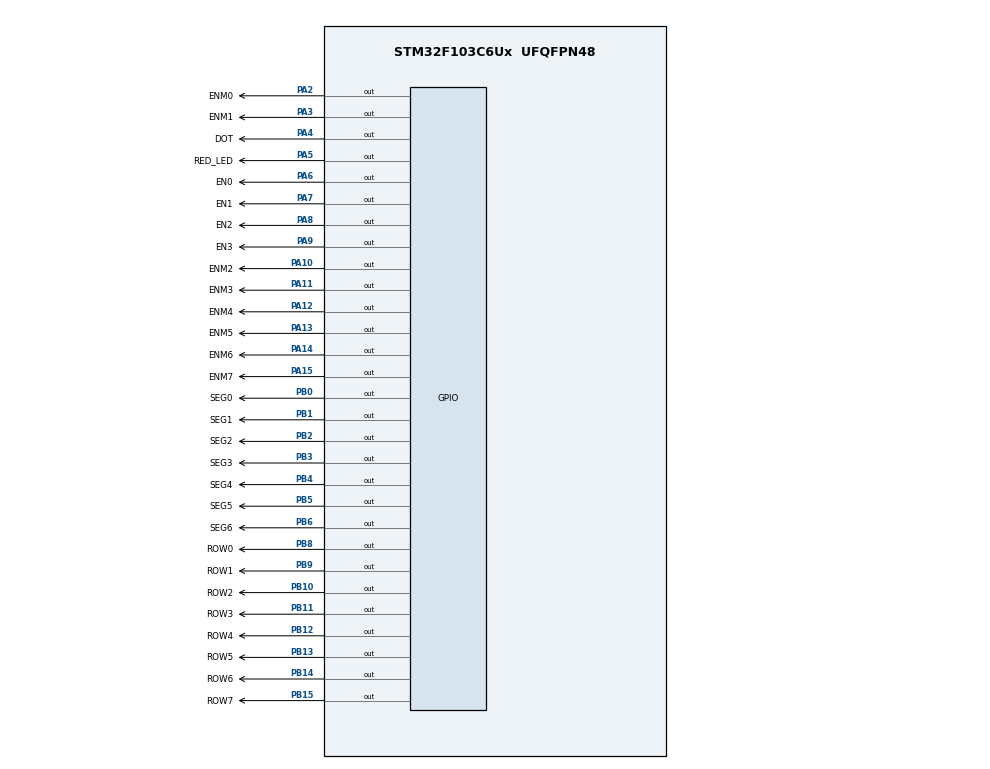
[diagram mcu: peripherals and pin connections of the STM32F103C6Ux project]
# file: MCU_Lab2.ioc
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Mcu.Family=STM32F1
Mcu.Name=STM32F103C6Ux
Mcu.Package=UFQFPN48
NVIC.PriorityGroup=NVIC_PRIORITYGROUP_4
NVIC.TIM2_IRQn=true\:0\:0\:false\:false\:true\:true\:true
PA10.GPIO_Label=ENM2
PA10.Signal=GPIO_Output
PA11.GPIO_Label=ENM3
PA11.Signal=GPIO_Output
PA12.GPIO_Label=ENM4
PA12.Signal=GPIO_Output
PA13.GPIO_Label=ENM5
PA13.Signal=GPIO_Output
PA14.GPIO_Label=ENM6
PA14.Signal=GPIO_Output
PA15.GPIO_Label=ENM7
PA15.Signal=GPIO_Output
PA2.GPIO_Label=ENM0
PA2.Signal=GPIO_Output
PA3.GPIO_Label=ENM1
PA3.Signal=GPIO_Output
PA4.GPIO_Label=DOT
PA4.Signal=GPIO_Output
PA5.GPIO_Label=RED_LED
PA5.Signal=GPIO_Output
PA6.GPIO_Label=EN0
PA6.Signal=GPIO_Output
PA7.GPIO_Label=EN1
PA7.Signal=GPIO_Output
PA8.GPIO_Label=EN2
PA8.Signal=GPIO_Output
PA9.GPIO_Label=EN3
PA9.Signal=GPIO_Output
PB0.GPIO_Label=SEG0
PB0.Signal=GPIO_Output
PB1.GPIO_Label=SEG1
PB1.Signal=GPIO_Output
PB10.GPIO_Label=ROW2
PB10.Signal=GPIO_Output
PB11.GPIO_Label=ROW3
PB11.Signal=GPIO_Output
PB12.GPIO_Label=ROW4
PB12.Signal=GPIO_Output
PB13.GPIO_Label=ROW5
PB13.Signal=GPIO_Output
PB14.GPIO_Label=ROW6
PB14.Signal=GPIO_Output
PB15.GPIO_Label=ROW7
PB15.Signal=GPIO_Output
PB2.GPIO_Label=SEG2
PB2.Signal=GPIO_Output
PB3.GPIO_Label=SEG3
PB3.Signal=GPIO_Output
PB4.GPIO_Label=SEG4
PB4.Signal=GPIO_Output
PB5.GPIO_Label=SEG5
PB5.Signal=GPIO_Output
PB6.GPIO_Label=SEG6
PB6.Signal=GPIO_Output
PB8.GPIO_Label=ROW0
PB8.Signal=GPIO_Output
PB9.GPIO_Label=ROW1
PB9.Signal=GPIO_Output
ProjectManager.HeapSize=0x200
ProjectManager.StackSize=0x400
ProjectManager.TargetToolchain=STM32CubeIDE
RCC.APB1Freq_Value=8000000
RCC.APB2Freq_Value=8000000
TIM2.Period=9
TIM2.Prescaler=7999
VP_SYS_VS_ND.Mode=No_Debug
VP_TIM2_VS_ClockSourceINT.Mode=Internal
board=custom

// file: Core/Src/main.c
/* USER CODE BEGIN Header */
/**
  ******************************************************************************
  * @file           : main.c
  * @brief          : Main program body
  ******************************************************************************
  * @attention
  *
  * <h2><center>&copy; Copyright (c) 2023 STMicroelectronics.
  * All rights reserved.</center></h2>
  *
  * This software component is licensed by ST under BSD 3-Clause license,
  * the "License"; You may not use this file except in compliance with the
  * License. You may obtain a copy of the License at:
  *                        opensource.org/licenses/BSD-3-Clause
  *
  ******************************************************************************
  */
/* USER CODE END Header */
#include "main.h"

/* USER CODE BEGIN Includes */
#include "software_timer.h"
#include "7SEG.h"
#include "LED_MATRIX.h"
/* USER CODE END Includes */

TIM_HandleTypeDef htim2;

void SystemClock_Config(void);
static void MX_GPIO_Init(void);
static void MX_TIM2_Init(void);

int main(void)
{

  /* MCU Configuration--------------------------------------------------------*/

  /* Reset of all peripherals, Initializes the Flash interface and the Systick. */
  HAL_Init();

  /* Configure the system clock */
  SystemClock_Config();

  /* Initialize all configured peripherals */
  MX_GPIO_Init();
  MX_TIM2_Init();
  /* USER CODE BEGIN 2 */
  HAL_TIM_Base_Start_IT(&htim2);
	setTimer1(30);
	setTimer2(100);
	setTimer3(7);
	int hour = 23 , minute = 59 , second = 55;
  /* USER CODE END 2 */

  /* Infinite loop */
  while (1)
  {

    /* USER CODE BEGIN 3 */
	  if(timer1_flag == 1){
		  setTimer1(50);
		  //TODO
		  LEDMatrix_Run();
		  update7SEG(index_led++);
	  }
	  if(timer2_flag == 1){
		  setTimer2(200);
		  //TODO
		 shiftLeftMatrix();

	  }
	  if(timer3_flag == 1){
		  setTimer3(100);
			HAL_GPIO_TogglePin(DOT_GPIO_Port, DOT_Pin);
			HAL_GPIO_TogglePin(RED_LED_GPIO_Port, RED_LED_Pin);
			//TODO
			second++;
			if(second >= 60){
				second = 0;
				minute++;
			if(minute >=60){
				minute =0;
				hour++;
				}
			if(hour >= 24){
				hour =0;
				}
			}

	  }
	  updateClockBuffer(hour,minute);

  }
  /* USER CODE END 3 */
}

void SystemClock_Config(void)
{
  RCC_OscInitTypeDef RCC_OscInitStruct = {0};
  RCC_ClkInitTypeDef RCC_ClkInitStruct = {0};

  /** Initializes the RCC Oscillators according to the specified parameters
  * in the RCC_OscInitTypeDef structure.
  */
  RCC_OscInitStruct.OscillatorType = RCC_OSCILLATORTYPE_HSI;
  RCC_OscInitStruct.HSIState = RCC_HSI_ON;
  RCC_OscInitStruct.HSICalibrationValue = RCC_HSICALIBRATION_DEFAULT;
  RCC_OscInitStruct.PLL.PLLState = RCC_PLL_NONE;
  if (HAL_RCC_OscConfig(&RCC_OscInitStruct) != HAL_OK)
  {
    Error_Handler();
  }
  /** Initializes the CPU, AHB and APB buses clocks
  */
  RCC_ClkInitStruct.ClockType = RCC_CLOCKTYPE_HCLK|RCC_CLOCKTYPE_SYSCLK
                              |RCC_CLOCKTYPE_PCLK1|RCC_CLOCKTYPE_PCLK2;
  RCC_ClkInitStruct.SYSCLKSource = RCC_SYSCLKSOURCE_HSI;
  RCC_ClkInitStruct.AHBCLKDivider = RCC_SYSCLK_DIV1;
  RCC_ClkInitStruct.APB1CLKDivider = RCC_HCLK_DIV1;
  RCC_ClkInitStruct.APB2CLKDivider = RCC_HCLK_DIV1;

  if (HAL_RCC_ClockConfig(&RCC_ClkInitStruct, FLASH_LATENCY_0) != HAL_OK)
  {
    Error_Handler();
  }
}

static void MX_TIM2_Init(void)
{

  TIM_ClockConfigTypeDef sClockSourceConfig = {0};
  TIM_MasterConfigTypeDef sMasterConfig = {0};

  htim2.Instance = TIM2;
  htim2.Init.Prescaler = 7999;
  htim2.Init.CounterMode = TIM_COUNTERMODE_UP;
  htim2.Init.Period = 9;
  htim2.Init.ClockDivision = TIM_CLOCKDIVISION_DIV1;
  htim2.Init.AutoReloadPreload = TIM_AUTORELOAD_PRELOAD_DISABLE;
  if (HAL_TIM_Base_Init(&htim2) != HAL_OK)
  {
    Error_Handler();
  }
  sClockSourceConfig.ClockSource = TIM_CLOCKSOURCE_INTERNAL;
  if (HAL_TIM_ConfigClockSource(&htim2, &sClockSourceConfig) != HAL_OK)
  {
    Error_Handler();
  }
  sMasterConfig.MasterOutputTrigger = TIM_TRGO_RESET;
  sMasterConfig.MasterSlaveMode = TIM_MASTERSLAVEMODE_DISABLE;
  if (HAL_TIMEx_MasterConfigSynchronization(&htim2, &sMasterConfig) != HAL_OK)
  {
    Error_Handler();
  }

}

static void MX_GPIO_Init(void)
{
  GPIO_InitTypeDef GPIO_InitStruct = {0};

  /* GPIO Ports Clock Enable */
  __HAL_RCC_GPIOA_CLK_ENABLE();
  __HAL_RCC_GPIOB_CLK_ENABLE();

  /*Configure GPIO pin Output Level */
  HAL_GPIO_WritePin(GPIOA, ENM0_Pin|ENM1_Pin|DOT_Pin|RED_LED_Pin
                          |EN0_Pin|EN1_Pin|EN2_Pin|EN3_Pin
                          |ENM2_Pin|ENM3_Pin|ENM4_Pin|ENM5_Pin
                          |ENM6_Pin|ENM7_Pin, GPIO_PIN_RESET);

  /*Configure GPIO pin Output Level */
  HAL_GPIO_WritePin(GPIOB, SEG0_Pin|SEG1_Pin|SEG2_Pin|ROW2_Pin
                          |ROW3_Pin|ROW4_Pin|ROW5_Pin|ROW6_Pin
                          |ROW7_Pin|SEG3_Pin|SEG4_Pin|SEG5_Pin
                          |SEG6_Pin|ROW0_Pin|ROW1_Pin, GPIO_PIN_RESET);

  /*Configure GPIO pins : ENM0_Pin ENM1_Pin DOT_Pin RED_LED_Pin
                           EN0_Pin EN1_Pin EN2_Pin EN3_Pin
                           ENM2_Pin ENM3_Pin ENM4_Pin ENM5_Pin
                           ENM6_Pin ENM7_Pin */
  GPIO_InitStruct.Pin = ENM0_Pin|ENM1_Pin|DOT_Pin|RED_LED_Pin
                          |EN0_Pin|EN1_Pin|EN2_Pin|EN3_Pin
                          |ENM2_Pin|ENM3_Pin|ENM4_Pin|ENM5_Pin
                          |ENM6_Pin|ENM7_Pin;
  GPIO_InitStruct.Mode = GPIO_MODE_OUTPUT_PP;
  GPIO_InitStruct.Pull = GPIO_NOPULL;
  GPIO_InitStruct.Speed = GPIO_SPEED_FREQ_LOW;
  HAL_GPIO_Init(GPIOA, &GPIO_InitStruct);

  /*Configure GPIO pins : SEG0_Pin SEG1_Pin SEG2_Pin ROW2_Pin
                           ROW3_Pin ROW4_Pin ROW5_Pin ROW6_Pin
                           ROW7_Pin SEG3_Pin SEG4_Pin SEG5_Pin
                           SEG6_Pin ROW0_Pin ROW1_Pin */
  GPIO_InitStruct.Pin = SEG0_Pin|SEG1_Pin|SEG2_Pin|ROW2_Pin
                          |ROW3_Pin|ROW4_Pin|ROW5_Pin|ROW6_Pin
                          |ROW7_Pin|SEG3_Pin|SEG4_Pin|SEG5_Pin
                          |SEG6_Pin|ROW0_Pin|ROW1_Pin;
  GPIO_InitStruct.Mode = GPIO_MODE_OUTPUT_PP;
  GPIO_InitStruct.Pull = GPIO_NOPULL;
  GPIO_InitStruct.Speed = GPIO_SPEED_FREQ_LOW;
  HAL_GPIO_Init(GPIOB, &GPIO_InitStruct);

}

/* USER CODE BEGIN 4 */
	void HAL_TIM_PeriodElapsedCallback(TIM_HandleTypeDef *htim){
		timerRun();
	}
/* USER CODE END 4 */

void Error_Handler(void)
{
  __disable_irq();
  while (1)
  {
  }
}

/************************ (C) COPYRIGHT STMicroelectronics *****END OF FILE****/
